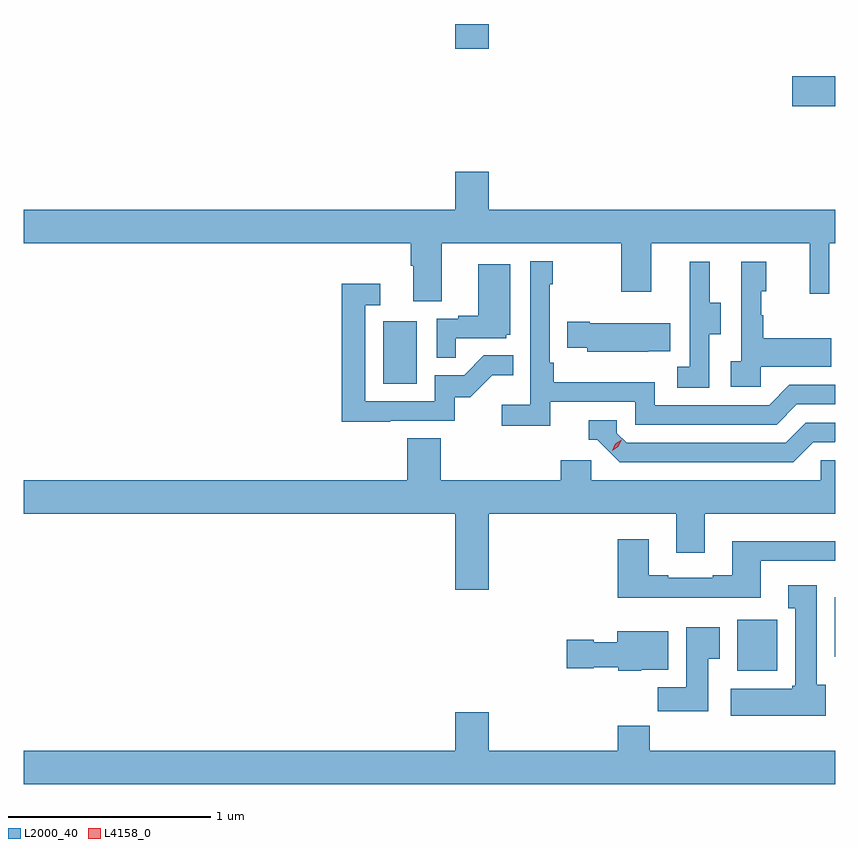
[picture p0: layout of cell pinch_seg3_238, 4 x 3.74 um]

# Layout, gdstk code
import gdstk
lib = gdstk.Library(unit=1e-6, precision=1e-09)
def R(c, l, rs):  # rectangles x0, y0, x1, y1
    for r in rs: c.add(gdstk.rectangle(r[:2], r[2:], *l))
def P(c, l, *ps):  # polygons
    for p in ps: c.add(gdstk.Polygon(p, *l))
L2000_40 = (2000, 40)
L4158_0 = (4158, 0)

pinch_seg3_238 = lib.new_cell('pinch_seg3_238')
R(pinch_seg3_238, L2000_40, [(921.641,729.446,921.837,729.697), (922.121,729.516,922.125,729.808), (919.898,730.86,920.062,731.167), (921.912,732.227,922.125,732.374), (920.252,732.51,920.416,732.632)])
P(pinch_seg3_238, L2000_40, [(920.185,731.552),(921.07,731.552),(921.07,731.313),(921.217,731.313),(921.217,731.552),(921.998,731.552),(921.998,731.304),(922.095,731.304),(922.095,731.552),(922.125,731.552),(922.125,731.716),(920.416,731.716),(920.416,731.905),(920.252,731.905),(920.252,731.716),(918.125,731.716),(918.125,731.552),(920.033,731.552),(920.033,731.44),(920.045,731.44),(920.045,731.266),(920.185,731.266)],
  [(920.72,730.77),(921.138,730.77),(921.138,730.659),(921.835,730.659),(921.934,730.758),(922.125,730.758),(922.125,730.854),(921.897,730.854),(921.798,730.755),(921.234,730.755),(921.234,730.867),(920.738,730.867),(920.738,730.963),(920.718,730.963),(920.718,731.351),(920.731,731.351),(920.731,731.464),(920.622,731.464),(920.622,730.756),(920.481,730.756),(920.481,730.654),(920.72,730.654)],
  [(921.504,731.104),(921.559,731.104),(921.559,731.259),(921.505,731.259),(921.505,731.461),(921.407,731.461),(921.407,731.247),(921.408,731.247),(921.408,730.943),(921.345,730.943),(921.345,730.84),(921.504,730.84)],
  [(921.756,730.943),(922.103,730.943),(922.103,731.083),(921.769,731.083),(921.769,731.198),(921.759,731.198),(921.759,731.316),(921.784,731.316),(921.784,731.461),(921.66,731.461),(921.66,730.97),(921.609,730.97),(921.609,730.845),(921.756,730.845)],
  [(920.255,731.085),(920.502,731.085),(920.502,731.1),(920.524,731.1),(920.524,731.449),(920.366,731.449),(920.366,731.194),(920.267,731.194),(920.267,731.181),(920.16,731.181),(920.16,730.987),(920.255,730.987)],
  [(919.931,730.677),(920.25,730.677),(920.25,730.794),(920.326,730.794),(920.433,730.901),(920.537,730.901),(920.537,731),(920.393,731),(920.295,730.902),(920.151,730.902),(920.151,730.773),(919.809,730.773),(919.809,731.247),(919.882,731.247),(919.882,731.353),(919.693,731.353),(919.693,730.672),(919.931,730.672)],
  [(921.203,731.021),(921.311,731.021),(921.311,731.158),(920.914,731.158),(920.914,731.166),(920.803,731.166),(920.803,731.036),(920.901,731.036),(920.901,731.018),(921.203,731.018)],
  [(922.015,730.572),(922.122,730.572),(922.122,730.575),(922.125,730.575),(922.125,730.668),(921.978,730.668),(921.879,730.569),(921.096,730.569),(921.048,730.617),(921.048,730.68),(920.909,730.68),(920.909,730.584),(920.952,730.584),(921.063,730.473),(921.916,730.473)],
  [(920.416,730.22),(921.341,730.22),(921.341,730.026),(921.481,730.026),(921.481,730.22),(922.125,730.22),(922.125,730.482),(922.053,730.482),(922.053,730.384),(920.922,730.384),(920.922,730.482),(920.771,730.482),(920.771,730.384),(920.18,730.384),(920.18,730.592),(920.015,730.592),(920.015,730.384),(918.125,730.384),(918.125,730.22),(920.252,730.22),(920.252,729.846),(920.416,729.846)],
  [(921.757,729.987),(922.125,729.987),(922.125,730.084),(921.617,730.084),(921.617,729.916),(921.521,729.916),(921.521,729.903),(921.301,729.903),(921.301,729.916),(921.205,729.916),(921.205,730.093),(921.053,730.093),(921.053,729.806),(921.757,729.806)],
  [(922.078,729.378),(922.033,729.378),(922.033,729.868),(921.893,729.868),(921.893,729.755),(921.926,729.755),(921.926,729.372),(921.913,729.372),(921.913,729.358),(921.609,729.358),(921.609,729.224),(922.078,729.224)],
  [(921.499,729.505),(921.556,729.505),(921.556,729.661),(921.389,729.661),(921.389,729.364),(921.25,729.364),(921.25,729.246),(921.499,729.246)],
  [(921.168,729.452),(921.301,729.452),(921.301,729.64),(921.05,729.64),(921.05,729.586),(920.934,729.586),(920.934,729.599),(920.802,729.599),(920.802,729.457),(920.934,729.457),(920.934,729.464),(921.054,729.464),(921.054,729.446),(921.168,729.446)],
  [(922.125,729.052),(921.209,729.052),(921.209,729.176),(921.053,729.176),(921.053,729.052),(920.416,729.052),(920.416,729.241),(920.252,729.241),(920.252,729.052),(918.125,729.052),(918.125,728.888),(922.125,728.888)])
P(pinch_seg3_238, L4158_0, [(921.026,730.53),(921.026,730.53),(921.041,730.563),(921.072,730.583),(921.072,730.583),(921.072,730.583),(921.056,730.55),(921.026,730.53)])

lib.write_gds('pinch_seg3_238.gds')
